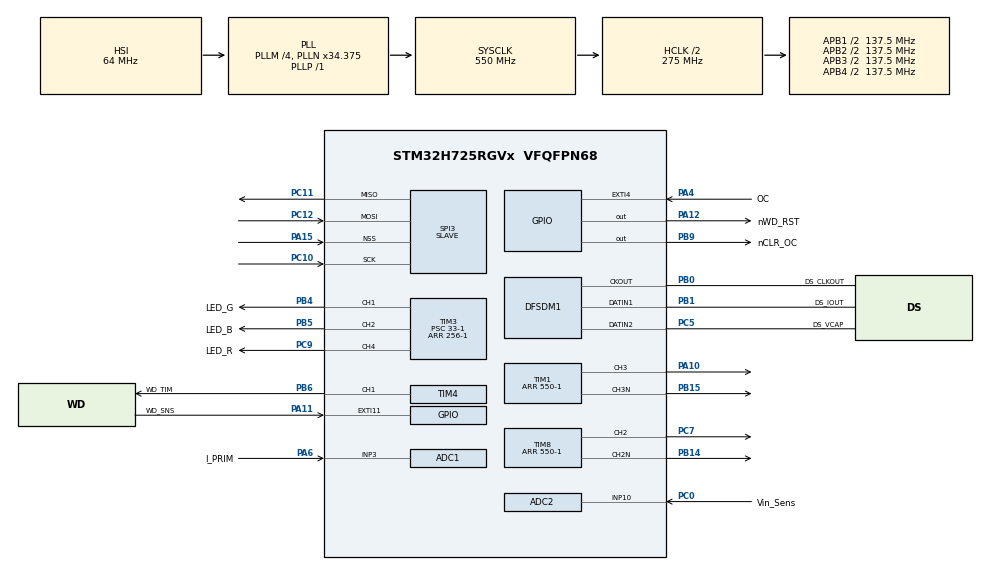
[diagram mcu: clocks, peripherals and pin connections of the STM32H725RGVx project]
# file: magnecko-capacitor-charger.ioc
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ADC1.Channel-0\#ChannelRegularConversion=ADC_CHANNEL_3
ADC1.ContinuousConvMode=ENABLE
ADC1.ConversionDataManagement=ADC_CONVERSIONDATA_DMA_CIRCULAR
ADC1.ExternalTrigConv=ADC_EXTERNALTRIG_T1_CC2
ADC1.ExternalTrigConvEdge=ADC_EXTERNALTRIGCONVEDGE_RISINGFALLING
ADC1.NbrOfConversionFlag=1
ADC1.OffsetNumber-0\#ChannelRegularConversion=ADC_OFFSET_NONE
ADC1.OffsetSignedSaturation-0\#ChannelRegularConversion=DISABLE
ADC1.Overrun=ADC_OVR_DATA_OVERWRITTEN
ADC1.Rank-0\#ChannelRegularConversion=1
ADC1.SamplingTime-0\#ChannelRegularConversion=ADC_SAMPLETIME_1CYCLE_5
ADC1.master=1
ADC2.Channel-0\#ChannelRegularConversion=ADC_CHANNEL_10
ADC2.ClockPrescaler=ADC_CLOCK_ASYNC_DIV1
ADC2.ContinuousConvMode=ENABLE
ADC2.ConversionDataManagement=ADC_CONVERSIONDATA_DMA_CIRCULAR
ADC2.NbrOfConversionFlag=1
ADC2.OffsetNumber-0\#ChannelRegularConversion=ADC_OFFSET_NONE
ADC2.OffsetSignedSaturation-0\#ChannelRegularConversion=DISABLE
ADC2.Overrun=ADC_OVR_DATA_OVERWRITTEN
ADC2.Rank-0\#ChannelRegularConversion=1
ADC2.SamplingTime-0\#ChannelRegularConversion=ADC_SAMPLETIME_1CYCLE_5
ADC3.Channel-0\#ChannelRegularConversion=ADC_CHANNEL_VREFINT
ADC3.ClockPrescaler=ADC_CLOCK_ASYNC_DIV1
ADC3.ContinuousConvMode=ENABLE
ADC3.ConversionDataManagement=ADC_CONVERSIONDATA_DMA_CIRCULAR
ADC3.DMAContinuousRequests=ENABLE
ADC3.NbrOfConversionFlag=1
ADC3.OffsetNumber-0\#ChannelRegularConversion=ADC_OFFSET_NONE
ADC3.OffsetSign-0\#ChannelRegularConversion=ADC3_OFFSET_SIGN_NEGATIVE
ADC3.Overrun=ADC_OVR_DATA_OVERWRITTEN
ADC3.Rank-0\#ChannelRegularConversion=1
ADC3.SamplingTime-0\#ChannelRegularConversion=ADC3_SAMPLETIME_2CYCLES_5
Bdma.ADC3.0.Direction=DMA_PERIPH_TO_MEMORY
Bdma.ADC3.0.EventEnable=DISABLE
Bdma.ADC3.0.Instance=BDMA_Channel0
Bdma.ADC3.0.MemDataAlignment=DMA_MDATAALIGN_HALFWORD
Bdma.ADC3.0.MemInc=DMA_MINC_ENABLE
Bdma.ADC3.0.Mode=DMA_CIRCULAR
Bdma.ADC3.0.PeriphDataAlignment=DMA_PDATAALIGN_HALFWORD
Bdma.ADC3.0.PeriphInc=DMA_PINC_DISABLE
Bdma.ADC3.0.Polarity=HAL_DMAMUX_REQ_GEN_RISING
Bdma.ADC3.0.Priority=DMA_PRIORITY_LOW
Bdma.ADC3.0.RequestNumber=1
Bdma.ADC3.0.SignalID=NONE
Bdma.ADC3.0.SyncEnable=DISABLE
Bdma.ADC3.0.SyncPolarity=HAL_DMAMUX_SYNC_NO_EVENT
Bdma.ADC3.0.SyncRequestNumber=1
Bdma.ADC3.0.SyncSignalID=NONE
Bdma.Request0=ADC3
Bdma.RequestsNb=1
DFSDM1.Divider=7
DFSDM1.DmaMode_reg_FIL0=ENABLE
DFSDM1.DmaMode_reg_FIL1=ENABLE
DFSDM1.Filter_regChannel_FIL0=DFSDM_CHANNEL_1
DFSDM1.Filter_regChannel_FIL1=DFSDM_CHANNEL_2
DFSDM1.Fosr_FIL0=256
DFSDM1.Fosr_FIL1=256
DFSDM1.RightBitShift_CH1=0x01
DFSDM1.RightBitShift_CH2=1
DFSDM1.SincOrder_FIL0=DFSDM_FILTER_SINC3_ORDER
DFSDM1.SincOrder_FIL1=DFSDM_FILTER_SINC3_ORDER
DFSDM1.Type_spi_CH1=DFSDM_CHANNEL_SPI_RISING
DFSDM1.Type_spi_CH2=DFSDM_CHANNEL_SPI_RISING
Dma.ADC1.4.Direction=DMA_PERIPH_TO_MEMORY
Dma.ADC1.4.EventEnable=DISABLE
Dma.ADC1.4.FIFOMode=DMA_FIFOMODE_DISABLE
Dma.ADC1.4.Instance=DMA1_Stream4
Dma.ADC1.4.MemDataAlignment=DMA_MDATAALIGN_HALFWORD
Dma.ADC1.4.MemInc=DMA_MINC_ENABLE
Dma.ADC1.4.Mode=DMA_CIRCULAR
Dma.ADC1.4.PeriphDataAlignment=DMA_PDATAALIGN_HALFWORD
Dma.ADC1.4.PeriphInc=DMA_PINC_DISABLE
Dma.ADC1.4.Polarity=HAL_DMAMUX_REQ_GEN_RISING
Dma.ADC1.4.Priority=DMA_PRIORITY_LOW
Dma.ADC1.4.RequestNumber=1
Dma.ADC1.4.SignalID=NONE
Dma.ADC1.4.SyncEnable=DISABLE
Dma.ADC1.4.SyncPolarity=HAL_DMAMUX_SYNC_NO_EVENT
Dma.ADC1.4.SyncRequestNumber=1
Dma.ADC1.4.SyncSignalID=NONE
Dma.ADC2.5.Direction=DMA_PERIPH_TO_MEMORY
Dma.ADC2.5.EventEnable=DISABLE
Dma.ADC2.5.FIFOMode=DMA_FIFOMODE_DISABLE
Dma.ADC2.5.Instance=DMA1_Stream5
Dma.ADC2.5.MemDataAlignment=DMA_MDATAALIGN_HALFWORD
Dma.ADC2.5.MemInc=DMA_MINC_ENABLE
Dma.ADC2.5.Mode=DMA_CIRCULAR
Dma.ADC2.5.PeriphDataAlignment=DMA_PDATAALIGN_HALFWORD
Dma.ADC2.5.PeriphInc=DMA_PINC_DISABLE
Dma.ADC2.5.Polarity=HAL_DMAMUX_REQ_GEN_RISING
Dma.ADC2.5.Priority=DMA_PRIORITY_LOW
Dma.ADC2.5.RequestNumber=1
Dma.ADC2.5.SignalID=NONE
Dma.ADC2.5.SyncEnable=DISABLE
Dma.ADC2.5.SyncPolarity=HAL_DMAMUX_SYNC_NO_EVENT
Dma.ADC2.5.SyncRequestNumber=1
Dma.ADC2.5.SyncSignalID=NONE
Dma.DFSDM1_FLT0.0.Direction=DMA_PERIPH_TO_MEMORY
Dma.DFSDM1_FLT0.0.EventEnable=DISABLE
Dma.DFSDM1_FLT0.0.FIFOMode=DMA_FIFOMODE_DISABLE
Dma.DFSDM1_FLT0.0.Instance=DMA1_Stream0
Dma.DFSDM1_FLT0.0.MemDataAlignment=DMA_MDATAALIGN_WORD
Dma.DFSDM1_FLT0.0.MemInc=DMA_MINC_ENABLE
Dma.DFSDM1_FLT0.0.Mode=DMA_CIRCULAR
Dma.DFSDM1_FLT0.0.PeriphDataAlignment=DMA_PDATAALIGN_WORD
Dma.DFSDM1_FLT0.0.PeriphInc=DMA_PINC_DISABLE
Dma.DFSDM1_FLT0.0.Polarity=HAL_DMAMUX_REQ_GEN_RISING
Dma.DFSDM1_FLT0.0.Priority=DMA_PRIORITY_LOW
Dma.DFSDM1_FLT0.0.RequestNumber=1
Dma.DFSDM1_FLT0.0.SignalID=NONE
Dma.DFSDM1_FLT0.0.SyncEnable=DISABLE
Dma.DFSDM1_FLT0.0.SyncPolarity=HAL_DMAMUX_SYNC_NO_EVENT
Dma.DFSDM1_FLT0.0.SyncRequestNumber=1
Dma.DFSDM1_FLT0.0.SyncSignalID=NONE
Dma.DFSDM1_FLT1.1.Direction=DMA_PERIPH_TO_MEMORY
Dma.DFSDM1_FLT1.1.EventEnable=DISABLE
Dma.DFSDM1_FLT1.1.FIFOMode=DMA_FIFOMODE_DISABLE
Dma.DFSDM1_FLT1.1.Instance=DMA1_Stream1
Dma.DFSDM1_FLT1.1.MemDataAlignment=DMA_MDATAALIGN_WORD
Dma.DFSDM1_FLT1.1.MemInc=DMA_MINC_ENABLE
Dma.DFSDM1_FLT1.1.Mode=DMA_CIRCULAR
Dma.DFSDM1_FLT1.1.PeriphDataAlignment=DMA_PDATAALIGN_WORD
Dma.DFSDM1_FLT1.1.PeriphInc=DMA_PINC_DISABLE
Dma.DFSDM1_FLT1.1.Polarity=HAL_DMAMUX_REQ_GEN_RISING
Dma.DFSDM1_FLT1.1.Priority=DMA_PRIORITY_LOW
Dma.DFSDM1_FLT1.1.RequestNumber=1
Dma.DFSDM1_FLT1.1.SignalID=NONE
Dma.DFSDM1_FLT1.1.SyncEnable=DISABLE
Dma.DFSDM1_FLT1.1.SyncPolarity=HAL_DMAMUX_SYNC_NO_EVENT
Dma.DFSDM1_FLT1.1.SyncRequestNumber=1
Dma.DFSDM1_FLT1.1.SyncSignalID=NONE
Dma.Request0=DFSDM1_FLT0
Dma.Request1=DFSDM1_FLT1
Dma.Request2=SPI3_RX
Dma.Request3=SPI3_TX
Dma.Request4=ADC1
Dma.Request5=ADC2
Dma.SPI3_RX.2.Direction=DMA_PERIPH_TO_MEMORY
Dma.SPI3_RX.2.EventEnable=DISABLE
Dma.SPI3_RX.2.FIFOMode=DMA_FIFOMODE_DISABLE
Dma.SPI3_RX.2.Instance=DMA1_Stream2
Dma.SPI3_RX.2.MemDataAlignment=DMA_MDATAALIGN_BYTE
Dma.SPI3_RX.2.MemInc=DMA_MINC_ENABLE
Dma.SPI3_RX.2.Mode=DMA_CIRCULAR
Dma.SPI3_RX.2.PeriphDataAlignment=DMA_PDATAALIGN_BYTE
Dma.SPI3_RX.2.PeriphInc=DMA_PINC_DISABLE
Dma.SPI3_RX.2.Polarity=HAL_DMAMUX_REQ_GEN_RISING
Dma.SPI3_RX.2.Priority=DMA_PRIORITY_LOW
Dma.SPI3_RX.2.RequestNumber=1
Dma.SPI3_RX.2.SignalID=NONE
Dma.SPI3_RX.2.SyncEnable=DISABLE
Dma.SPI3_RX.2.SyncPolarity=HAL_DMAMUX_SYNC_NO_EVENT
Dma.SPI3_RX.2.SyncRequestNumber=1
Dma.SPI3_RX.2.SyncSignalID=NONE
Dma.SPI3_TX.3.Direction=DMA_MEMORY_TO_PERIPH
Dma.SPI3_TX.3.EventEnable=DISABLE
Dma.SPI3_TX.3.FIFOMode=DMA_FIFOMODE_DISABLE
Dma.SPI3_TX.3.Instance=DMA1_Stream3
Dma.SPI3_TX.3.MemDataAlignment=DMA_MDATAALIGN_BYTE
Dma.SPI3_TX.3.MemInc=DMA_MINC_ENABLE
Dma.SPI3_TX.3.Mode=DMA_CIRCULAR
Dma.SPI3_TX.3.PeriphDataAlignment=DMA_PDATAALIGN_BYTE
Dma.SPI3_TX.3.PeriphInc=DMA_PINC_DISABLE
Dma.SPI3_TX.3.Polarity=HAL_DMAMUX_REQ_GEN_RISING
Dma.SPI3_TX.3.Priority=DMA_PRIORITY_LOW
Dma.SPI3_TX.3.RequestNumber=1
Dma.SPI3_TX.3.SignalID=NONE
Dma.SPI3_TX.3.SyncEnable=DISABLE
Dma.SPI3_TX.3.SyncPolarity=HAL_DMAMUX_SYNC_NO_EVENT
Dma.SPI3_TX.3.SyncRequestNumber=1
Dma.SPI3_TX.3.SyncSignalID=NONE
Mcu.Family=STM32H7
Mcu.Name=STM32H725RGVx
Mcu.Package=VFQFPN68
NVIC.DMA1_Stream0_IRQn=true\:0\:0\:false\:false\:true\:false\:true\:true
NVIC.DMA1_Stream1_IRQn=true\:0\:0\:false\:false\:true\:false\:true\:true
NVIC.DMA1_Stream2_IRQn=true\:0\:0\:false\:false\:true\:false\:true\:true
NVIC.DMA1_Stream3_IRQn=true\:0\:0\:false\:false\:true\:false\:true\:true
NVIC.EXTI4_IRQn=true\:0\:0\:false\:false\:true\:true\:true\:true
NVIC.PriorityGroup=NVIC_PRIORITYGROUP_4
NVIC.SPI3_IRQn=true\:0\:0\:false\:false\:true\:false\:true\:true
NVIC.TIM2_IRQn=true\:0\:0\:false\:false\:true\:true\:true\:true
PA10.Signal=S_TIM1_CH3
PA11.GPIO_Label=WD_SNS
PA11.Signal=GPXTI11
PA12.GPIO_Label=nWD_RST
PA12.Signal=GPIO_Output
PA13(JTMS/SWDIO).Mode=Trace_Asynchronous_SW
PA13(JTMS/SWDIO).Signal=DEBUG_JTMS-SWDIO
PA14(JTCK/SWCLK).Mode=Trace_Asynchronous_SW
PA14(JTCK/SWCLK).Signal=DEBUG_JTCK-SWCLK
PA15(JTDI).Mode=NSS_Signal_Hard_Input
PA15(JTDI).Signal=SPI3_NSS
PA4.GPIO_Label=OC
PA4.Signal=GPXTI4
PA6.GPIO_Label=I_PRIM
PA6.Signal=ADCx_INP3
PB0.GPIO_Label=DS_CLKOUT
PB0.Signal=S_CKOUTDFSDM1
PB1.GPIO_Label=DS_IOUT
PB1.Signal=S_DATAIN1DFSDM1
PB14.Mode=PWM Generation2 CH2 CH2N
PB14.Signal=TIM8_CH2N
PB15.Mode=PWM Generation3 CH3 CH3N
PB15.Signal=TIM1_CH3N
PB3(JTDO/TRACESWO).Mode=Trace_Asynchronous_SW
PB3(JTDO/TRACESWO).Signal=DEBUG_JTDO-SWO
PB4(NJTRST).GPIO_Label=LED_G
PB4(NJTRST).Signal=S_TIM3_CH1
PB5.GPIO_Label=LED_B
PB5.Signal=S_TIM3_CH2
PB6.GPIO_Label=WD_TIM
PB6.Signal=S_TIM4_CH1
PB9.GPIO_Label=nCLR_OC
PB9.Signal=GPIO_Output
PC0.GPIO_Label=Vin_Sens
PC0.Signal=ADCx_INP10
PC10.Mode=Full_Duplex_Slave
PC10.Signal=SPI3_SCK
PC11.Mode=Full_Duplex_Slave
PC11.Signal=SPI3_MISO
PC12.Mode=Full_Duplex_Slave
PC12.Signal=SPI3_MOSI
PC5.GPIO_Label=DS_VCAP
PC5.Signal=S_DATAIN2DFSDM1
PC7.Signal=S_TIM8_CH2
PC9.GPIO_Label=LED_R
PC9.Signal=S_TIM3_CH4
ProjectManager.HeapSize=0x200
ProjectManager.StackSize=0x400
ProjectManager.TargetToolchain=CMake
RCC.ADCFreq_Value=96000000
RCC.APB1Freq_Value=137500000
RCC.APB2Freq_Value=137500000
RCC.APB3Freq_Value=137500000
RCC.APB4Freq_Value=137500000
RCC.CortexFreq_Value=550000000
RCC.D1PPRE=RCC_APB3_DIV2
RCC.D2PPRE1=RCC_APB1_DIV2
RCC.D2PPRE2=RCC_APB2_DIV2
RCC.D3PPRE=RCC_APB4_DIV2
RCC.DIVM1=4
RCC.DIVM2=4
RCC.DIVN1=34
RCC.DIVN2=12
RCC.DIVP1=1
RCC.DIVQ1=3
RCC.HCLKFreq_Value=275000000
RCC.HPRE=RCC_HCLK_DIV2
RCC.PLL2FRACN=0
RCC.PLL3FRACN=0
RCC.PLLFRACN=3072
RCC.SYSCLKFreq_VALUE=550000000
RCC.SYSCLKSource=RCC_SYSCLKSOURCE_PLLCLK
RCC.USBFreq_Value=183333333.33333334
SH.ADCx_INP10.0=ADC2_INP10,IN10-Single-Ended
SH.ADCx_INP3.0=ADC1_INP3,IN3-Single-Ended
SH.S_CKOUTDFSDM1.0=DFSDM1_CKOUT,PDM_SPI_input_from_ch1_and_internal_clock
SH.S_CKOUTDFSDM1.1=DFSDM1_CKOUT,CKOUT
SH.S_CKOUTDFSDM1.2=DFSDM1_CKOUT,PDM_SPI_input_from_ch2_and_internal_clock
SH.S_DATAIN1DFSDM1.0=DFSDM1_DATIN1,PDM_SPI_input_from_ch1_and_internal_clock
SH.S_DATAIN2DFSDM1.0=DFSDM1_DATIN2,PDM_SPI_input_from_ch2_and_internal_clock
SH.S_TIM1_CH3.0=TIM1_CH3,PWM Generation3 CH3 CH3N
SH.S_TIM3_CH1.0=TIM3_CH1,PWM Generation1 CH1
SH.S_TIM3_CH2.0=TIM3_CH2,PWM Generation2 CH2
SH.S_TIM3_CH4.0=TIM3_CH4,PWM Generation4 CH4
SH.S_TIM4_CH1.0=TIM4_CH1,PWM Generation1 CH1
SH.S_TIM8_CH2.0=TIM8_CH2,PWM Generation2 CH2 CH2N
SPI3.CLKPhase=SPI_PHASE_2EDGE
SPI3.CLKPolarity=SPI_POLARITY_HIGH
SPI3.DataSize=SPI_DATASIZE_8BIT
SPI3.Direction=SPI_DIRECTION_2LINES
SPI3.Mode=SPI_MODE_SLAVE
SPI3.VirtualNSS=VM_NSSHARD
SPI3.VirtualType=VM_SLAVE
TIM1.Channel-Output\ Compare1\ No\ Output=TIM_CHANNEL_1
TIM1.Channel-Output\ Compare2\ No\ Output=TIM_CHANNEL_2
TIM1.Channel-PWM\ Generation3\ CH3\ CH3N=TIM_CHANNEL_3
TIM1.DeadTime=5
TIM1.OC1Preload=ENABLE
TIM1.OCFastMode_PWM-PWM\ Generation3\ CH3\ CH3N=TIM_OCFAST_ENABLE
TIM1.OCMode_2=TIM_OCMODE_TOGGLE
TIM1.Period=550-1
TIM1.TIM_MasterOutputTrigger=TIM_TRGO_OC1
TIM1.TIM_MasterOutputTrigger2=TIM_TRGO2_OC2REF
TIM2.Period=100-1
TIM2.Prescaler=275-1
TIM3.Channel-PWM\ Generation1\ CH1=TIM_CHANNEL_1
TIM3.Channel-PWM\ Generation2\ CH2=TIM_CHANNEL_2
TIM3.Channel-PWM\ Generation4\ CH4=TIM_CHANNEL_4
TIM3.Period=256-1
TIM3.Prescaler=33-1
TIM4.Channel-PWM\ Generation1\ CH1=TIM_CHANNEL_1
TIM4.Period=1000
TIM4.Prescaler=275-1
TIM8.Channel-PWM\ Generation2\ CH2\ CH2N=TIM_CHANNEL_2
TIM8.DeadTime=5
TIM8.OCFastMode_PWM-PWM\ Generation2\ CH2\ CH2N=TIM_OCFAST_ENABLE
TIM8.Period=550-1
VP_ADC3_Vref_Input.Mode=IN-Vrefint
VP_CRC_VS_CRC.Mode=CRC_Activate
VP_MEMORYMAP_VS_MEMORYMAP.Mode=CurAppReg
VP_TIM1_VS_no_output1.Mode=Output Compare1 No Output
VP_TIM1_VS_no_output2.Mode=Output Compare2 No Output
VP_TIM2_VS_ClockSourceINT.Mode=Internal
VP_TIM3_VS_ClockSourceINT.Mode=Internal
VP_TIM8_VS_ClockSourceITR.Mode=TriggerSource_ITR0
VP_TIM8_VS_ControllerModeCombinedResetTrigger.Mode=Combined_Reset_Trigger_Mode
board=custom

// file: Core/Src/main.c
/* USER CODE BEGIN Header */
/**
  ******************************************************************************
  * @file           : main.c
  * @brief          : Main program body
  ******************************************************************************
  * @attention
  *
  * Copyright (c) 2026 STMicroelectronics.
  * All rights reserved.
  *
  * This software is licensed under terms that can be found in the LICENSE file
  * in the root directory of this software component.
  * If no LICENSE file comes with this software, it is provided AS-IS.
  *
  ******************************************************************************
  */
/* USER CODE END Header */
#include "main.h"
#include "adc.h"
#include "bdma.h"
#include "crc.h"
#include "dfsdm.h"
#include "dma.h"
#include "spi.h"
#include "tim.h"
#include "gpio.h"

/* USER CODE BEGIN Includes */
#include "Controller.h"
#include "swo.h"
#include "utils.h"
/* USER CODE END Includes */

/* USER CODE BEGIN PV */
Controller charger_controller;
/* USER CODE END PV */

void SystemClock_Config(void);
void PeriphCommonClock_Config(void);

int main(void)
{

  /* MCU Configuration--------------------------------------------------------*/

  /* Reset of all peripherals, Initializes the Flash interface and the Systick. */
  HAL_Init();

  /* Configure the system clock */
  SystemClock_Config();

  /* Configure the peripherals common clocks */
  PeriphCommonClock_Config();

  /* Initialize all configured peripherals */
  MX_GPIO_Init();
  MX_DMA_Init();
  MX_BDMA_Init();
  MX_ADC1_Init();
  MX_DFSDM1_Init();
  MX_TIM1_Init();
  MX_TIM3_Init();
  MX_TIM8_Init();
  MX_SPI3_Init();
  MX_TIM4_Init();
  MX_ADC3_Init();
  MX_ADC2_Init();
  MX_TIM2_Init();
  MX_CRC_Init();
  /* USER CODE BEGIN 2 */
  SWD_Init();
  Controller_Init(&charger_controller);
  HAL_TIM_PWM_Start(&htim3, TIM_CHANNEL_1);
  HAL_TIM_PWM_Start(&htim3, TIM_CHANNEL_2);
  HAL_TIM_PWM_Start(&htim3, TIM_CHANNEL_4);

  setStatusLEDHex(0x00FF00); // Green
  /* USER CODE END 2 */

  /* Infinite loop */
  /* USER CODE BEGIN WHILE */
  memcpy(&(ITM->PORT[0].u32), &(charger_controller.Iout), sizeof(float));
  memcpy(&(ITM->PORT[1].u32), &(charger_controller.Vout), sizeof(float));
  HAL_GPIO_WritePin(nCLR_OC_GPIO_Port, nCLR_OC_Pin, GPIO_PIN_RESET);
  while (1)
  {
    // memcpy(&(ITM->PORT[0].u32), &(charger_controller.Iout), sizeof(float));
    for(int i = 0; i < 10000; i++) {
      __NOP();
    }
    ITM->PORT[0].u16 = charger_controller.timeout_counter;
    memcpy(&(ITM->PORT[1].u32), &(charger_controller.Vout), sizeof(float));
    memcpy(&(ITM->PORT[2].u32), &(charger_controller.Iout), sizeof(float));
    for(int i = 0; i < 10000; i++) {
      __NOP();
    }
    /* USER CODE END WHILE */

  }
}

void SystemClock_Config(void)
{
  RCC_OscInitTypeDef RCC_OscInitStruct = {0};
  RCC_ClkInitTypeDef RCC_ClkInitStruct = {0};

  /** Supply configuration update enable
  */
  HAL_PWREx_ConfigSupply(PWR_DIRECT_SMPS_SUPPLY);

  /** Configure the main internal regulator output voltage
  */
  __HAL_PWR_VOLTAGESCALING_CONFIG(PWR_REGULATOR_VOLTAGE_SCALE0);

  while(!__HAL_PWR_GET_FLAG(PWR_FLAG_VOSRDY)) {}

  /** Initializes the RCC Oscillators according to the specified parameters
  * in the RCC_OscInitTypeDef structure.
  */
  RCC_OscInitStruct.OscillatorType = RCC_OSCILLATORTYPE_HSI;
  RCC_OscInitStruct.HSIState = RCC_HSI_DIV1;
  RCC_OscInitStruct.HSICalibrationValue = 64;
  RCC_OscInitStruct.PLL.PLLState = RCC_PLL_ON;
  RCC_OscInitStruct.PLL.PLLSource = RCC_PLLSOURCE_HSI;
  RCC_OscInitStruct.PLL.PLLM = 4;
  RCC_OscInitStruct.PLL.PLLN = 34;
  RCC_OscInitStruct.PLL.PLLP = 1;
  RCC_OscInitStruct.PLL.PLLQ = 3;
  RCC_OscInitStruct.PLL.PLLR = 2;
  RCC_OscInitStruct.PLL.PLLRGE = RCC_PLL1VCIRANGE_3;
  RCC_OscInitStruct.PLL.PLLVCOSEL = RCC_PLL1VCOWIDE;
  RCC_OscInitStruct.PLL.PLLFRACN = 3072;
  if (HAL_RCC_OscConfig(&RCC_OscInitStruct) != HAL_OK)
  {
    Error_Handler();
  }

  /** Initializes the CPU, AHB and APB buses clocks
  */
  RCC_ClkInitStruct.ClockType = RCC_CLOCKTYPE_HCLK|RCC_CLOCKTYPE_SYSCLK
                              |RCC_CLOCKTYPE_PCLK1|RCC_CLOCKTYPE_PCLK2
                              |RCC_CLOCKTYPE_D3PCLK1|RCC_CLOCKTYPE_D1PCLK1;
  RCC_ClkInitStruct.SYSCLKSource = RCC_SYSCLKSOURCE_PLLCLK;
  RCC_ClkInitStruct.SYSCLKDivider = RCC_SYSCLK_DIV1;
  RCC_ClkInitStruct.AHBCLKDivider = RCC_HCLK_DIV2;
  RCC_ClkInitStruct.APB3CLKDivider = RCC_APB3_DIV2;
  RCC_ClkInitStruct.APB1CLKDivider = RCC_APB1_DIV2;
  RCC_ClkInitStruct.APB2CLKDivider = RCC_APB2_DIV2;
  RCC_ClkInitStruct.APB4CLKDivider = RCC_APB4_DIV2;

  if (HAL_RCC_ClockConfig(&RCC_ClkInitStruct, FLASH_LATENCY_3) != HAL_OK)
  {
    Error_Handler();
  }
}

void PeriphCommonClock_Config(void)
{
  RCC_PeriphCLKInitTypeDef PeriphClkInitStruct = {0};

  /** Initializes the peripherals clock
  */
  PeriphClkInitStruct.PeriphClockSelection = RCC_PERIPHCLK_ADC;
  PeriphClkInitStruct.PLL2.PLL2M = 4;
  PeriphClkInitStruct.PLL2.PLL2N = 12;
  PeriphClkInitStruct.PLL2.PLL2P = 2;
  PeriphClkInitStruct.PLL2.PLL2Q = 2;
  PeriphClkInitStruct.PLL2.PLL2R = 2;
  PeriphClkInitStruct.PLL2.PLL2RGE = RCC_PLL2VCIRANGE_3;
  PeriphClkInitStruct.PLL2.PLL2VCOSEL = RCC_PLL2VCOWIDE;
  PeriphClkInitStruct.PLL2.PLL2FRACN = 0;
  PeriphClkInitStruct.AdcClockSelection = RCC_ADCCLKSOURCE_PLL2;
  if (HAL_RCCEx_PeriphCLKConfig(&PeriphClkInitStruct) != HAL_OK)
  {
    Error_Handler();
  }
}

/* USER CODE BEGIN 4 */

void HAL_SPI_TxRxCpltCallback(SPI_HandleTypeDef *hspi)
{
  if(hspi == CTRL_SPI_HANDLE) {
    // Set data valid flag for main loop to process
    HAL_SPI_TransmitReceive_IT(CTRL_SPI_HANDLE, &charger_controller.tx_data, &charger_controller.rx_data, sizeof(ChargerData));
  }
}

void HAL_TIM_PeriodElapsedCallback(TIM_HandleTypeDef *htim)
{
  if(htim == CTRL_TIMER) {
    Controller_Update(&charger_controller);
  }
}
/* USER CODE END 4 */

void Error_Handler(void)
{
  __disable_irq();
  while (1)
  {
  }
}
